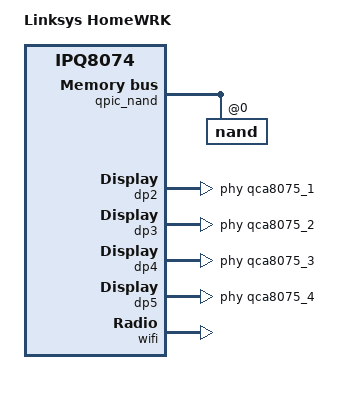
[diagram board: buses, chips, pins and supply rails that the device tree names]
// SPDX-License-Identifier: GPL-2.0-or-later OR MIT

/dts-v1/;

#include "ipq8174-mx4x00.dtsi"

/ {
	model = "Linksys HomeWRK";
	compatible = "linksys,homewrk", "qcom,ipq8074";

	aliases {
		ethernet3 = &dp4;
		ethernet4 = &dp5;
	};

	chosen {
		bootargs-append = " root=/dev/ubiblock0_1";
	};
};

&qpic_nand {
	status = "okay";

	nand@0 {
		reg = <0>;
		/*
		 * Some devices use Micron NAND with with 8 bit ECC 
		 * other AMD/Spansion NAND with 4 bit ECC
		 *nand-ecc-strength = <4>;
		 *nand-ecc-step-size = <512>;
		 */
		nand-bus-width = <8>;

		partitions {
			compatible = "qcom,smem-part";
		};
	};
};

&dp2 {
	status = "okay";
	phy-handle = <&qca8075_1>;
	label = "wan";
};

&dp3 {
	status = "okay";
	phy-handle = <&qca8075_2>;
	label = "lan3";
};

&dp4 {
	status = "okay";
	phy-handle = <&qca8075_3>;
	label = "lan2";
};

&dp5 {
	status = "okay";
	phy-handle = <&qca8075_4>;
	label = "lan1";
};

&wifi {
	status = "okay";

	qcom,ath11k-calibration-variant = "Linksys-HomeWRK";
};
